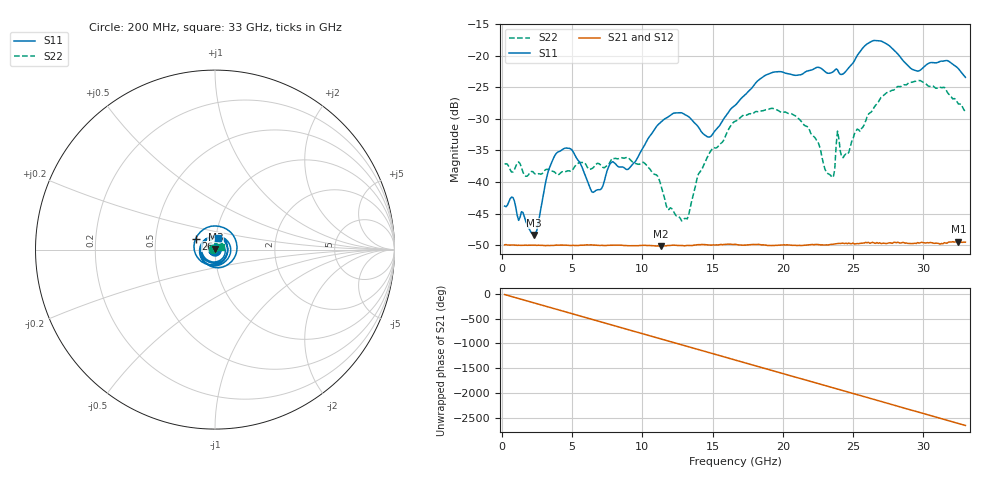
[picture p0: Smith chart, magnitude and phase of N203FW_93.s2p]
# GHZ S RI R 50
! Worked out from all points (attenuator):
!   329 points, 200 MHz to 33 GHz, reference 50 ohm
!   highest |S21| = -49.46 dB at 32.5 GHz (marker M1); lowest = -50.2 dB at 11.3 GHz (marker M2)
!   lowest |S11| = -48.4 dB at 2.3 GHz (marker M3), VSWR 1.01, Z = 50.2 + j0.32 ohm
!   |S11| at or under -10 dB: start of sweep to end of sweep
!   |S22| runs from -46.2 to -23.9 dB; largest |S21 - S12| = 8.7e-05
!   S11 on the Smith chart (normalised r, x): 200 MHz: 1.01, -0.00; 26 GHz: 0.80, +0.10; 33 GHz: 1.03, +0.13
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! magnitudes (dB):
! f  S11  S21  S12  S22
! 200 MHz  -43.8  -50.0  -49.9  -37.2
! 800 MHz  -42.5  -50.0  -50.0  -38.4
! 2.3 GHz  -48.4  -50.0  -50.0  -38.6
! 3.8 GHz  -35.7  -50.0  -50.0  -38.5
! 5.7 GHz  -37.6  -50.0  -50.0  -36.9
! 7 GHz  -41.2  -50.1  -50.0  -37.2
! 11.2 GHz  -30.8  -50.2  -50.1  -39.6
! 11.3 GHz  -30.6  -50.2  -50.1  -40.3
! 11.8 GHz  -29.8  -50.1  -50.1  -44.4
! 13.2 GHz  -29.5  -50.1  -50.1  -45.9
! 14.8 GHz  -32.9  -50.0  -50.0  -35.4
! 16.6 GHz  -27.9  -49.9  -49.9  -30.4
! 19.3 GHz  -22.6  -50.1  -50.1  -28.4
! 22.1 GHz  -22.2  -49.9  -49.9  -32.6
! 23.5 GHz  -22.7  -49.9  -49.8  -39.3
! 23.9 GHz  -22.2  -49.8  -49.8  -31.9
! 24.3 GHz  -22.9  -49.7  -49.6  -36.1
! 26 GHz  -18.1  -49.6  -49.6  -29.7
! 27.6 GHz  -18.4  -49.6  -49.7  -25.7
! 29.8 GHz  -22.3  -49.6  -49.7  -24.0
! 32.5 GHz  -22.1  -49.5  -49.4  -27.6
! 33 GHz  -23.4  -49.5  -49.6  -28.9
